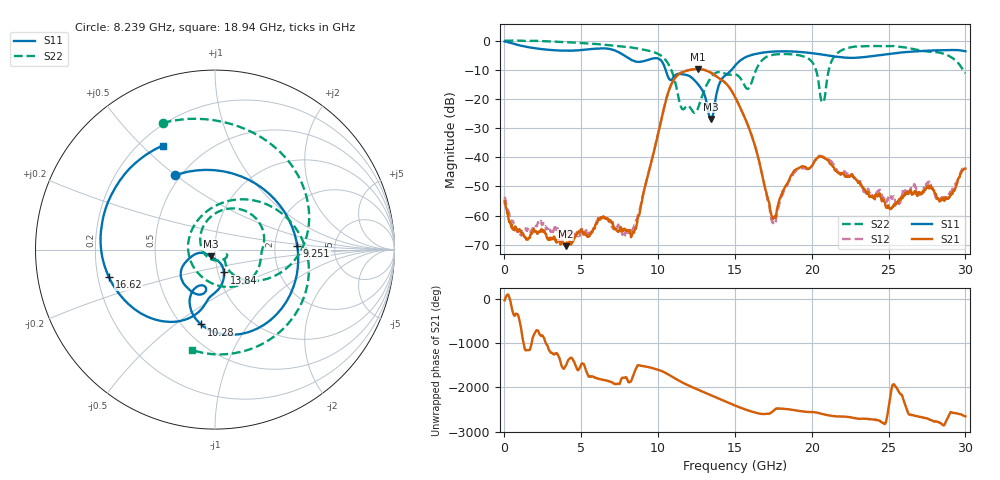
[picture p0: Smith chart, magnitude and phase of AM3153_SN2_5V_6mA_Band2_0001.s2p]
!Agilent Technologies,E8364B,MY43040894,A.07.50.67
!Agilent E8364B: A.07.50.67
!Date: Tuesday, May 12, 2020 09:49:27
!Correction: S11(Full 2 Port(1,2))
!S21(Full 2 Port(1,2))
!S12(Full 2 Port(1,2))
!S22(Full 2 Port(1,2))
!S2P File: Measurements: S11, S21, S12, S22:
# Hz S  dB  R 50
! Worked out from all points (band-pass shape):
!   1601 points, 10 MHz to 30 GHz, reference 50 ohm
!   highest |S21| = -9.74 dB at 12.59 GHz (marker M1); lowest = -70.5 dB at 3.984 GHz (marker M2)
!   |S21| within 3 dB of the highest: 11.12 GHz to 13.92 GHz (2.805 GHz wide, 22.4 % of centre)
!   lowest |S11| = -26.9 dB at 13.43 GHz (marker M3), VSWR 1.10, Z = 47.5 - j3.63 ohm
!   |S11| at or under -10 dB: 10.49 GHz to 14.79 GHz (4.301 GHz wide, 34 % of centre)
!   |S22| runs from -24.8 to 0.0 dB; largest |S21 - S12| = 0.0062
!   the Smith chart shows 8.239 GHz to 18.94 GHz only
!   S11 on the Smith chart (normalised r, x): 8.239 GHz: 0.47, +0.50; 9.251 GHz: 2.69, +0.14; 10.28 GHz: 0.61, -0.62; 13.84 GHz: 1.07, -0.28; 16.62 GHz: 0.25, -0.12; 18.94 GHz: 0.29, +0.58
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1e7  -0.28 -7.5  -54.92 -40.7  -53.52 64.3  0.00 -1.9
8.722125e8  -1.49 -81.5  -65.30 -4.6  -66.13 147.5  0.02 -26.0
1.95935e9  -2.59 -157.5  -65.20 -67.9  -64.42 -28.3  -0.08 -58.6
3.983675e9  -3.46 89.8  -70.50 -74.9  -66.24 122.0  -0.52 -117.4
5.014581e9  -3.25 30.3  -64.79 -31.1  -64.87 69.6  -0.83 -147.1
6.682775e9  -2.74 -87.4  -61.04 -48.4  -61.25 -59.3  -1.50 164.1
8.238506e9  -6.56 118.4  -67.47 -62.8  -65.34 -61.7  -2.34 112.4
9.250669e9  -6.77 2.6  -48.06 -94.9  -47.88 -97.8  -3.31 71.3
1.001916e10  -6.19 -73.9  -31.57 -164.3  -31.38 -163.9  -4.61 29.8
1.028158e10  -7.45 -100.5  -25.48 160.4  -25.25 160.2  -5.52 11.8
1.258706e10  -14.90 -156.6  -9.74 109.8  -9.70 109.5  -23.31 -173.6
1.343052e10  -26.85 -122.8  -11.01 -15.8  -10.88 -16.1  -12.75 76.4
1.384289e10  -17.30 -68.6  -12.46 -74.6  -12.30 -75.5  -10.88 39.1
1.5005e10  -8.62 -106.0  -19.32 111.6  -19.26 110.1  -11.61 -27.8
1.661696e10  -4.29 -165.4  -42.31 -71.8  -42.22 -73.7  -7.71 32.2
1.751666e10  -3.77 164.0  -60.59 -3.9  -62.42 -113.0  -4.84 -37.6
1.894119e10  -3.77 116.6  -44.35 0.8  -44.93 3.6  -4.83 -102.8
2.000958e10  -4.31 77.4  -42.86 -33.7  -43.09 -33.7  -7.25 -151.6
2.072184e10  -4.83 48.2  -39.98 -83.9  -39.70 -82.0  -21.20 -121.4
2.195893e10  -5.72 -9.1  -45.59 -136.4  -44.95 -136.9  -3.28 -125.1
2.501416e10  -4.56 -151.4  -56.87 94.9  -53.59 140.9  -1.87 135.0
3e10  -3.65 71.8  -43.90 -131.2  -44.67 -137.0  -11.15 -10.6
